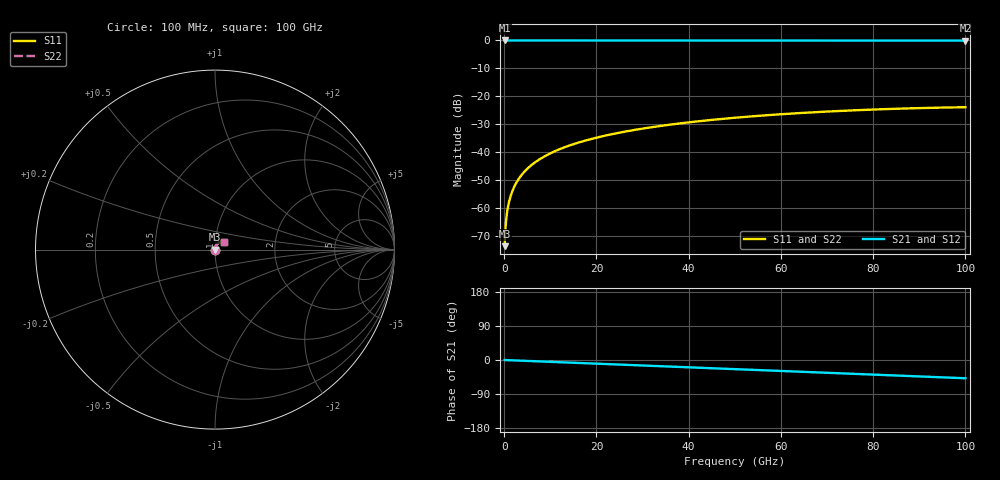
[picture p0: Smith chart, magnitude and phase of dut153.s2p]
! Touchstone file exported from HFSS 2026.1.0
!  File:  C:/ffzhzh/LocalFiles/Ansys_Project_Files/temp_train_TSV_153_1783506658_41296.aedt
!  Generated:  06:32:15 PM Jul  8, 2026
!  Design:  TSV
!  Project:  temp_train_TSV_153_1783506658_41296
! Variables:
!  h_bsmrdl = 2um
!  h_ox = 20um
!  h_rdl = 5um
!  h_sub = 98.16um
!  h_tmrdl = 5um
!  h_tsv = 98.16um
!  h_via = 3um
!  l_bsmrdl = 300um
!  l_sub = 419.8um
!  l_tmrdl = 200um
!  m_sub = 200um
!  pitch = 45.63um
!  r_tsv = 9.9um
!  s_tmrdl = 10um
!  w_bsmrdl = 18um
!  w_sub = 500um
!  w_tmrdl = 12um
!  x_tsv_center1 = 206um
!  x_tsv_center2 = 524um
!  x_tsv_center3 = 736um
!  x_tsv_center4 = 1054um
!  x_tsv_center5 = 1266um
!  x_tsv_center6 = 1584um
# GHz S MA R 50.000000
! Terminal data exported
! Port[1] = TSV1_1_T1
! Port[2] = TSV1_1_T2
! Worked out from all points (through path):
!   1000 points, 100 MHz to 100 GHz, reference 50 ohm
!   highest |S21| = 0.00 dB at 100 MHz (marker M1); lowest = 0.0 dB at 100 GHz (marker M2)
!   group delay of S21, straight-line fit = 1.34 ps
!   lowest |S11| = -73.7 dB at 100 MHz (marker M3), VSWR 1.00, Z = 50 + j0.0141 ohm
!   |S11| at or under -10 dB: start of sweep to end of sweep
!   |S22| runs from -73.7 to -23.9 dB; largest |S21 - S12| = 7.6e-15
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0.1  0.0002061 43.0  0.9998 -0.1  0.9998 -0.1  0.0002061 43.0
! Gamma 0 0 0 0
! Port Impedance 50 0 50 0
0.4  0.0005706 68.1  0.9998 -0.2  0.9998 -0.2  0.0005706 68.1
0.7  0.0009096 71.5  0.9997 -0.4  0.9997 -0.4  0.0009096 71.5
0.8  0.001015 72.2  0.9997 -0.4  0.9997 -0.4  0.001015 72.2
1.1  0.001322 73.8  0.9996 -0.5  0.9996 -0.5  0.001322 73.8
1.4  0.001621 75.0  0.9996 -0.7  0.9996 -0.7  0.001621 75.0
1.9  0.002111 76.4  0.9995 -0.9  0.9995 -0.9  0.002111 76.4
2.4  0.002594 77.2  0.9995 -1.2  0.9995 -1.2  0.002594 77.2
3.1  0.003256 77.9  0.9994 -1.5  0.9994 -1.5  0.003256 77.9
3.9  0.003999 78.4  0.9993 -1.9  0.9993 -1.9  0.003999 78.4
4.9  0.004915 78.8  0.9992 -2.4  0.9992 -2.4  0.004915 78.8
6.1  0.006003 79.0  0.9991 -3.0  0.9991 -3.0  0.006003 79.0
8.9  0.00851 78.8  0.999 -4.3  0.999 -4.3  0.00851 78.8
12.4  0.01159 78.0  0.9987 -6.0  0.9987 -6.0  0.01159 78.0
16.8  0.01539 76.6  0.9985 -8.1  0.9985 -8.1  0.01539 76.6
24.2  0.02161 73.8  0.9981 -11.7  0.9981 -11.7  0.02161 73.9
33.4  0.02903 70.0  0.9976 -16.1  0.9976 -16.1  0.02903 70.0
41.2  0.03497 66.6  0.9972 -19.9  0.9972 -19.9  0.03497 66.6
50.1  0.04128 62.6  0.9967 -24.1  0.9967 -24.1  0.04128 62.6
66.7  0.05145 55.0  0.9959 -32.1  0.9959 -32.1  0.05145 55.0
83.4  0.05917 47.2  0.995 -40.2  0.995 -40.2  0.05917 47.2
100  0.06367 39.4  0.9943 -48.2  0.9943 -48.2  0.06366 39.4
